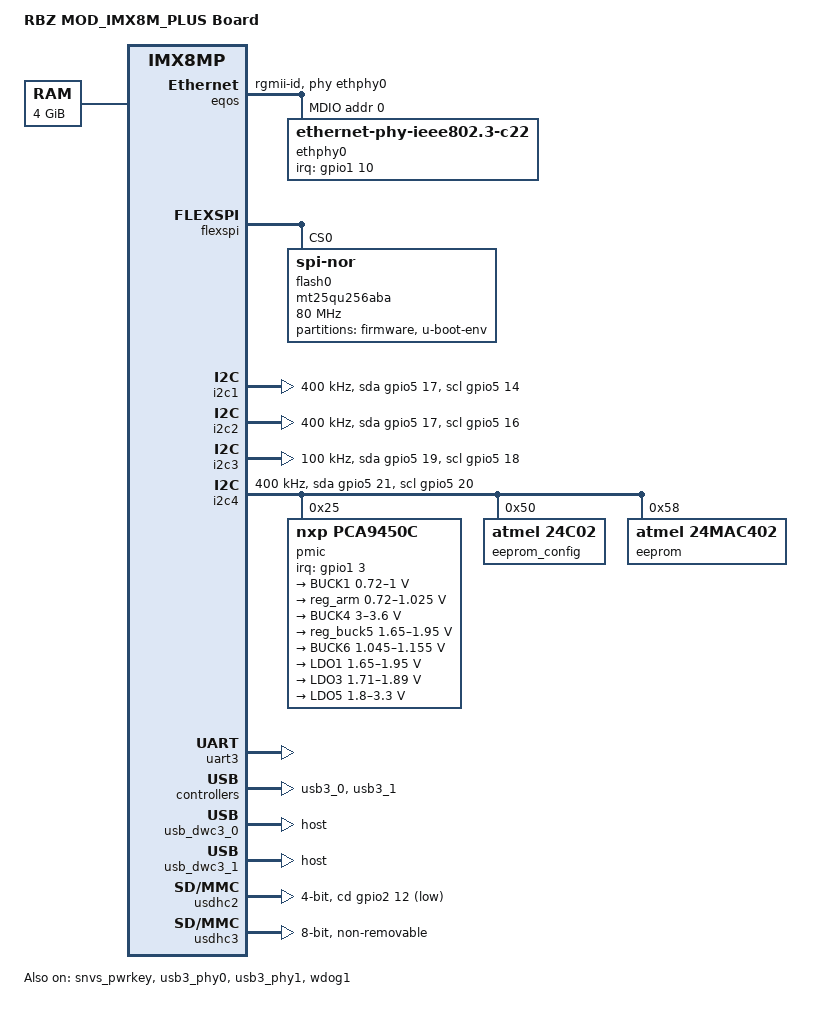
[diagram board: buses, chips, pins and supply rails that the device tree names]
// SPDX-License-Identifier: (GPL-2.0+ OR MIT)
/*
 * Copyright 2019 NXP
 */

/dts-v1/;

#include <dt-bindings/phy/phy-imx8-pcie.h>
#include "imx8mp.dtsi"

/ {
	model = "RBZ MOD_IMX8M_PLUS Board";
	compatible = "fsl,imx8mp-evk", "fsl,imx8mp";

	chosen {
		bootargs = "console=ttymxc2,115200";
		stdout-path = &uart3;
        rbz,eeprom = &eeprom;
        rbz,eeprom_config = &eeprom_config;
        rbz,hw-coding-gpios = <&gpio5 5 0>, <&gpio3 14 0>;
	};

    aliases {
      /delete-property/ ethernet0;
      /delete-property/ ethernet1;
      ethernet0 = &eqos;
    };


	memory@40000000 {
		device_type = "memory";
		reg = <0x0 0x40000000 0 0x80000000>,
		      <0x1 0x00000000 0 0x80000000>;
	};
};

&eqos {
	pinctrl-names = "default";
	pinctrl-0 = <&pinctrl_eqos>;
	phy-mode = "rgmii-id";
	phy-handle = <&ethphy0>;
    snps,force_thresh_dma_mode;
    snps,mtl-tx-config = <&mtl_tx_setup>;
    snps,mtl-rx-config = <&mtl_rx_setup>;
	status = "okay";

	mdio {
		compatible = "snps,dwmac-mdio";
		#address-cells = <1>;
		#size-cells = <0>;

		ethphy0: ethernet-phy@0 {
			compatible = "ethernet-phy-ieee802.3-c22";
			reg = <0>;
			eee-broken-1000t;
			eee-broken-100tx;
			interrupt-parent = <&gpio1>;
			interrupts = <10 IRQ_TYPE_LEVEL_LOW>;
		};
	};

	mtl_tx_setup: tx-queues-config {
		snps,tx-queues-to-use = <5>;

		queue0 {
			snps,dcb-algorithm;
			snps,priority = <0x1>;
		};

		queue1 {
			snps,dcb-algorithm;
			snps,priority = <0x2>;
		};

		queue2 {
			snps,dcb-algorithm;
			snps,priority = <0x4>;
		};

		queue3 {
			snps,dcb-algorithm;
			snps,priority = <0x8>;
		};

		queue4 {
			snps,dcb-algorithm;
			snps,priority = <0xf0>;
		};
	};

	mtl_rx_setup: rx-queues-config {
		snps,rx-queues-to-use = <5>;
		snps,rx-sched-sp;

		queue0 {
			snps,dcb-algorithm;
			snps,priority = <0x1>;
			snps,map-to-dma-channel = <0>;
		};

		queue1 {
			snps,dcb-algorithm;
			snps,priority = <0x2>;
			snps,map-to-dma-channel = <1>;
		};

		queue2 {
			snps,dcb-algorithm;
			snps,priority = <0x4>;
			snps,map-to-dma-channel = <2>;
		};

		queue3 {
			snps,dcb-algorithm;
			snps,priority = <0x8>;
			snps,map-to-dma-channel = <3>;
		};

		queue4 {
			snps,dcb-algorithm;
			snps,priority = <0xf0>;
			snps,map-to-dma-channel = <4>;
		};
	};
};

&A53_0 {
	cpu-supply = <&reg_arm>;
};

&A53_1 {
	cpu-supply = <&reg_arm>;
};

&A53_2 {
	cpu-supply = <&reg_arm>;
};

&A53_3 {
	cpu-supply = <&reg_arm>;
};

&flexspi {
	pinctrl-names = "default";
	pinctrl-0 = <&pinctrl_flexspi0>;
	status = "okay";

	flash0: mt25qu256aba@0 {
		reg = <0>;
		#address-cells = <1>;
		#size-cells = <1>;
		compatible = "jedec,spi-nor", "spi-flash";
		spi-max-frequency = <80000000>;
		spi-tx-bus-width = <4>;
		spi-rx-bus-width = <4>;

        partitions {
          compatible = "fixed-partitions";
          #address-cells = <1>;
          #size-cells = <1>;
          
          partition@firmware {
            reg = <0 CONFIG_ENV_OFFSET>;
            label = "firmware";
          };

          partition@u-boot-env {
            reg = <CONFIG_ENV_OFFSET CONFIG_ENV_SIZE>;
            label = "u-boot-env";
          };
        };
	};
};

&i2c1 {
    clock-frequency = <400000>;
    pinctrl-names = "default", "gpio";
    pinctrl-0 = <&pinctrl_i2c1>;
    pinctrl-1 = <&pinctrl_i2c1_gpio>;
    scl-gpios = <&gpio5 14 GPIO_ACTIVE_HIGH>;
    sda-gpios = <&gpio5 17 GPIO_ACTIVE_HIGH>;
    status = "okay";
};

&i2c2 {
	clock-frequency = <400000>;
	pinctrl-names = "default", "gpio";
	pinctrl-0 = <&pinctrl_i2c2>;
	pinctrl-1 = <&pinctrl_i2c2_gpio>;
	scl-gpios = <&gpio5 16 GPIO_ACTIVE_HIGH>;
	sda-gpios = <&gpio5 17 GPIO_ACTIVE_HIGH>;
	status = "okay";
};

&i2c3 {
	clock-frequency = <100000>;
	pinctrl-names = "default", "gpio";
	pinctrl-0 = <&pinctrl_i2c3>;
	pinctrl-1 = <&pinctrl_i2c3_gpio>;
	scl-gpios = <&gpio5 18 GPIO_ACTIVE_HIGH>;
	sda-gpios = <&gpio5 19 GPIO_ACTIVE_HIGH>;
	status = "okay";
};

&i2c4 {
	clock-frequency = <400000>;
	pinctrl-names = "default", "gpio";
	pinctrl-0 = <&pinctrl_i2c4>;
	pinctrl-1 = <&pinctrl_i2c4_gpio>;
	scl-gpios = <&gpio5 20 GPIO_ACTIVE_HIGH>;
	sda-gpios = <&gpio5 21 GPIO_ACTIVE_HIGH>;
	status = "okay";

	pmic: pca9450@25 {
		reg = <0x25>;
		compatible = "nxp,pca9450c";
		pinctrl-names = "default";
		pinctrl-0 = <&pinctrl_pmic>;
		interrupt-parent = <&gpio1>;
		interrupts = <3 IRQ_TYPE_LEVEL_LOW>;

		regulators {
			BUCK1 {
				regulator-name = "BUCK1";
				regulator-min-microvolt = <720000>;
				regulator-max-microvolt = <1000000>;
				regulator-boot-on;
				regulator-always-on;
				regulator-ramp-delay = <3125>;
			};

			reg_arm: BUCK2 {
				regulator-name = "BUCK2";
				regulator-min-microvolt = <720000>;
				regulator-max-microvolt = <1025000>;
				regulator-boot-on;
				regulator-always-on;
				regulator-ramp-delay = <3125>;
				nxp,dvs-run-voltage = <950000>;
				nxp,dvs-standby-voltage = <850000>;
			};

			BUCK4 {
				regulator-name = "BUCK4";
				regulator-min-microvolt = <3000000>;
				regulator-max-microvolt = <3600000>;
				regulator-boot-on;
				regulator-always-on;
			};

			reg_buck5: BUCK5 {
				regulator-name = "BUCK5";
				regulator-min-microvolt = <1650000>;
				regulator-max-microvolt = <1950000>;
				regulator-boot-on;
				regulator-always-on;
			};

			BUCK6 {
				regulator-name = "BUCK6";
				regulator-min-microvolt = <1045000>;
				regulator-max-microvolt = <1155000>;
				regulator-boot-on;
				regulator-always-on;
			};

			LDO1 {
				regulator-name = "LDO1";
				regulator-min-microvolt = <1650000>;
				regulator-max-microvolt = <1950000>;
				regulator-boot-on;
				regulator-always-on;
			};

			LDO3 {
				regulator-name = "LDO3";
				regulator-min-microvolt = <1710000>;
				regulator-max-microvolt = <1890000>;
				regulator-boot-on;
				regulator-always-on;
			};

			LDO5 {
				regulator-name = "LDO5";
				regulator-min-microvolt = <1800000>;
				regulator-max-microvolt = <3300000>;
				regulator-boot-on;
				regulator-always-on;
			};
		};
	};
  
    eeprom_config: eeprom_config@50 {
        compatible = "atmel,24c02";
        reg = <0x50>;
    };
    
    eeprom: eeprom@58 {
        compatible = "atmel,24mac402";
        reg = <0x58>;
    };
};

&snvs_pwrkey {
	status = "okay";
};

&uart3 {
	/* console */
	pinctrl-names = "default";
	pinctrl-0 = <&pinctrl_uart3>;
	status = "okay";
};

&usb3_phy0 {
	fsl,phy-tx-vref-tune = <0xb>;
	fsl,phy-tx-preemp-amp-tune = <3>;
	status = "okay";
};

&usb3_0 {
	status = "okay";
};

&usb_dwc3_0 {
	pinctrl-names = "default";
	pinctrl-0 = <&pinctrl_usb0_vbus>;
	dr_mode = "host";
	status = "okay";
};

&usb3_phy1 {
	fsl,phy-tx-preemp-amp-tune = <3>;
	fsl,phy-tx-vref-tune = <0xb>;
	status = "okay";
};

&usb3_1 {
	status = "okay";
};

&usb_dwc3_1 {
	pinctrl-names = "default";
	pinctrl-0 = <&pinctrl_usb1_vbus>;
	dr_mode = "host";
	status = "okay";
};

&usdhc2 {
	pinctrl-names = "default", "state_100mhz", "state_200mhz";
	pinctrl-0 = <&pinctrl_usdhc2>, <&pinctrl_usdhc2_gpio>;
	pinctrl-1 = <&pinctrl_usdhc2_100mhz>, <&pinctrl_usdhc2_gpio>;
	pinctrl-2 = <&pinctrl_usdhc2_200mhz>, <&pinctrl_usdhc2_gpio>;
	cd-gpios = <&gpio2 12 GPIO_ACTIVE_LOW>;
	bus-width = <4>;
    no-1-8-v;
	status = "okay";
};

&usdhc3 {
	pinctrl-names = "default", "state_100mhz", "state_200mhz";
	pinctrl-0 = <&pinctrl_usdhc3>;
	pinctrl-1 = <&pinctrl_usdhc3_100mhz>;
	pinctrl-2 = <&pinctrl_usdhc3_200mhz>;
	bus-width = <8>;
	non-removable;
	status = "okay";
};

&wdog1 {
	pinctrl-names = "default";
	pinctrl-0 = <&pinctrl_wdog>;
	fsl,ext-reset-output;
	status = "okay";
};

&iomuxc {
    pinctrl-0 = <&pinctrl_hog>;
	pinctrl-names = "default";

    pinctrl_hog: hoggrp {
      fsl,pins = <
        MX8MP_IOMUXC_SPDIF_EXT_CLK__GPIO5_IO05 0x140
        MX8MP_IOMUXC_NAND_DQS__GPIO3_IO14 0x140
      >;
    };
        
	pinctrl_eqos: eqosgrp {
		fsl,pins = <
			MX8MP_IOMUXC_ENET_MDC__ENET_QOS_MDC	0x2
			MX8MP_IOMUXC_ENET_MDIO__ENET_QOS_MDIO	0x2
			MX8MP_IOMUXC_ENET_RD0__ENET_QOS_RGMII_RD0	0x90
			MX8MP_IOMUXC_ENET_RD1__ENET_QOS_RGMII_RD1	0x90
			MX8MP_IOMUXC_ENET_RD2__ENET_QOS_RGMII_RD2	0x90
			MX8MP_IOMUXC_ENET_RD3__ENET_QOS_RGMII_RD3	0x90
			MX8MP_IOMUXC_ENET_RXC__CCM_ENET_QOS_CLOCK_GENERATE_RX_CLK	0x90
			MX8MP_IOMUXC_ENET_RX_CTL__ENET_QOS_RGMII_RX_CTL	0x90
			MX8MP_IOMUXC_ENET_TD0__ENET_QOS_RGMII_TD0		0x16
			MX8MP_IOMUXC_ENET_TD1__ENET_QOS_RGMII_TD1		0x16
			MX8MP_IOMUXC_ENET_TD2__ENET_QOS_RGMII_TD2		0x16
			MX8MP_IOMUXC_ENET_TD3__ENET_QOS_RGMII_TD3		0x16
			MX8MP_IOMUXC_ENET_TX_CTL__ENET_QOS_RGMII_TX_CTL	0x16
			MX8MP_IOMUXC_ENET_TXC__CCM_ENET_QOS_CLOCK_GENERATE_TX_CLK	0x16
            MX8MP_IOMUXC_GPIO1_IO01__GPIO1_IO01      0x10
            MX8MP_IOMUXC_GPIO1_IO09__GPIO1_IO09      0x10
		>;
	};

	pinctrl_flexspi0: flexspi0grp {
		fsl,pins = <
			MX8MP_IOMUXC_NAND_ALE__FLEXSPI_A_SCLK		0x1c2
			MX8MP_IOMUXC_NAND_CE0_B__FLEXSPI_A_SS0_B	0x82
			MX8MP_IOMUXC_NAND_DATA00__FLEXSPI_A_DATA00	0x82
			MX8MP_IOMUXC_NAND_DATA01__FLEXSPI_A_DATA01	0x82
			MX8MP_IOMUXC_NAND_DATA02__FLEXSPI_A_DATA02	0x82
			MX8MP_IOMUXC_NAND_DATA03__FLEXSPI_A_DATA03	0x82
		>;
	};

	pinctrl_i2c1: i2c1grp {
		fsl,pins = <
			MX8MP_IOMUXC_I2C1_SCL__I2C1_SCL		0x400001c3
			MX8MP_IOMUXC_I2C1_SDA__I2C1_SDA		0x400001c3
		>;
	};

	pinctrl_i2c2: i2c2grp {
		fsl,pins = <
			MX8MP_IOMUXC_I2C2_SCL__I2C2_SCL			0x400001c3
			MX8MP_IOMUXC_I2C2_SDA__I2C2_SDA			0x400001c3
		>;
	};

	pinctrl_i2c3: i2c3grp {
		fsl,pins = <
			MX8MP_IOMUXC_I2C3_SCL__I2C3_SCL			0x400001c3
			MX8MP_IOMUXC_I2C3_SDA__I2C3_SDA			0x400001c3
		>;
	};

	pinctrl_i2c4: i2c4grp {
		fsl,pins = <
			MX8MP_IOMUXC_I2C4_SCL__I2C4_SCL			0x400001c3
			MX8MP_IOMUXC_I2C4_SDA__I2C4_SDA			0x400001c3
		>;
	};

	pinctrl_i2c1_gpio: i2c1grp-gpio {
		fsl,pins = <
			MX8MP_IOMUXC_I2C1_SCL__GPIO5_IO14        	0x1c3
			MX8MP_IOMUXC_I2C1_SDA__GPIO5_IO15        	0x1c3
		>;
	};

	pinctrl_i2c2_gpio: i2c2grp-gpio {
		fsl,pins = <
			MX8MP_IOMUXC_I2C2_SCL__GPIO5_IO16        	0x1c3
			MX8MP_IOMUXC_I2C2_SDA__GPIO5_IO17        	0x1c3
		>;
	};

	pinctrl_i2c3_gpio: i2c3grp-gpio {
		fsl,pins = <
			MX8MP_IOMUXC_I2C3_SCL__GPIO5_IO18        	0x1c3
			MX8MP_IOMUXC_I2C3_SDA__GPIO5_IO19        	0x1c3
		>;
	};

	pinctrl_i2c4_gpio: i2c4grp-gpio {
		fsl,pins = <
			MX8MP_IOMUXC_I2C4_SCL__GPIO5_IO20        	0x1c3
			MX8MP_IOMUXC_I2C4_SDA__GPIO5_IO21        	0x1c3
		>;
	};

	pinctrl_pmic: pmicirq {
		fsl,pins = <
			MX8MP_IOMUXC_GPIO1_IO03__GPIO1_IO03	0x41
		>;
	};

	pinctrl_uart3: uart3grp {
		fsl,pins = <
			MX8MP_IOMUXC_UART3_RXD__UART3_DCE_RX	0x49
			MX8MP_IOMUXC_UART3_TXD__UART3_DCE_TX	0x49
		>;
	};

	pinctrl_usb0_vbus: usb0grp {
		fsl,pins = <
			MX8MP_IOMUXC_GPIO1_IO12__GPIO1_IO12	0x19
		>;
	};

	pinctrl_usb1_vbus: usb1grp {
		fsl,pins = <
			MX8MP_IOMUXC_GPIO1_IO14__GPIO1_IO14	0x19
		>;
	};

	pinctrl_usdhc2: usdhc2grp {
		fsl,pins = <
			MX8MP_IOMUXC_SD2_CLK__USDHC2_CLK	0x190
			MX8MP_IOMUXC_SD2_CMD__USDHC2_CMD	0x1d0
			MX8MP_IOMUXC_SD2_DATA0__USDHC2_DATA0	0x1d0
			MX8MP_IOMUXC_SD2_DATA1__USDHC2_DATA1	0x1d0
			MX8MP_IOMUXC_SD2_DATA2__USDHC2_DATA2	0x1d0
			MX8MP_IOMUXC_SD2_DATA3__USDHC2_DATA3	0x1d0
			MX8MP_IOMUXC_GPIO1_IO04__USDHC2_VSELECT	0xc1
		>;
	};

	pinctrl_usdhc2_100mhz: usdhc2-100mhzgrp {
		fsl,pins = <
			MX8MP_IOMUXC_SD2_CLK__USDHC2_CLK	0x194
			MX8MP_IOMUXC_SD2_CMD__USDHC2_CMD	0x1d4
			MX8MP_IOMUXC_SD2_DATA0__USDHC2_DATA0	0x1d4
			MX8MP_IOMUXC_SD2_DATA1__USDHC2_DATA1	0x1d4
			MX8MP_IOMUXC_SD2_DATA2__USDHC2_DATA2	0x1d4
			MX8MP_IOMUXC_SD2_DATA3__USDHC2_DATA3	0x1d4
			MX8MP_IOMUXC_GPIO1_IO04__USDHC2_VSELECT 0xc1
		>;
	};

	pinctrl_usdhc2_200mhz: usdhc2-200mhzgrp {
		fsl,pins = <
			MX8MP_IOMUXC_SD2_CLK__USDHC2_CLK	0x196
			MX8MP_IOMUXC_SD2_CMD__USDHC2_CMD	0x1d6
			MX8MP_IOMUXC_SD2_DATA0__USDHC2_DATA0	0x1d6
			MX8MP_IOMUXC_SD2_DATA1__USDHC2_DATA1	0x1d6
			MX8MP_IOMUXC_SD2_DATA2__USDHC2_DATA2	0x1d6
			MX8MP_IOMUXC_SD2_DATA3__USDHC2_DATA3	0x1d6
			MX8MP_IOMUXC_GPIO1_IO04__USDHC2_VSELECT 0xc1
		>;
	};

	pinctrl_usdhc2_gpio: usdhc2gpiogrp {
		fsl,pins = <
			MX8MP_IOMUXC_SD2_CD_B__GPIO2_IO12	0x1c4
		>;
	};

	pinctrl_usdhc3: usdhc3grp {
		fsl,pins = <
			MX8MP_IOMUXC_NAND_WE_B__USDHC3_CLK	0x190
			MX8MP_IOMUXC_NAND_WP_B__USDHC3_CMD	0x1d0
			MX8MP_IOMUXC_NAND_DATA04__USDHC3_DATA0	0x1d0
			MX8MP_IOMUXC_NAND_DATA05__USDHC3_DATA1	0x1d0
			MX8MP_IOMUXC_NAND_DATA06__USDHC3_DATA2	0x1d0
			MX8MP_IOMUXC_NAND_DATA07__USDHC3_DATA3	0x1d0
			MX8MP_IOMUXC_NAND_RE_B__USDHC3_DATA4	0x1d0
			MX8MP_IOMUXC_NAND_CE2_B__USDHC3_DATA5	0x1d0
			MX8MP_IOMUXC_NAND_CE3_B__USDHC3_DATA6	0x1d0
			MX8MP_IOMUXC_NAND_CLE__USDHC3_DATA7	0x1d0
			MX8MP_IOMUXC_NAND_CE1_B__USDHC3_STROBE	0x190
            MX8MP_IOMUXC_NAND_READY_B__USDHC3_RESET_B 0x1d1
		>;
	};

	pinctrl_usdhc3_100mhz: usdhc3-100mhzgrp {
		fsl,pins = <
			MX8MP_IOMUXC_NAND_WE_B__USDHC3_CLK	0x194
			MX8MP_IOMUXC_NAND_WP_B__USDHC3_CMD	0x1d4
			MX8MP_IOMUXC_NAND_DATA04__USDHC3_DATA0	0x1d4
			MX8MP_IOMUXC_NAND_DATA05__USDHC3_DATA1	0x1d4
			MX8MP_IOMUXC_NAND_DATA06__USDHC3_DATA2	0x1d4
			MX8MP_IOMUXC_NAND_DATA07__USDHC3_DATA3	0x1d4
			MX8MP_IOMUXC_NAND_RE_B__USDHC3_DATA4	0x1d4
			MX8MP_IOMUXC_NAND_CE2_B__USDHC3_DATA5	0x1d4
			MX8MP_IOMUXC_NAND_CE3_B__USDHC3_DATA6	0x1d4
			MX8MP_IOMUXC_NAND_CLE__USDHC3_DATA7	0x1d4
			MX8MP_IOMUXC_NAND_CE1_B__USDHC3_STROBE	0x194
            MX8MP_IOMUXC_NAND_READY_B__USDHC3_RESET_B 0x1d1
		>;
	};

	pinctrl_usdhc3_200mhz: usdhc3-200mhzgrp {
		fsl,pins = <
			MX8MP_IOMUXC_NAND_WE_B__USDHC3_CLK	0x196
			MX8MP_IOMUXC_NAND_WP_B__USDHC3_CMD	0x1d6
			MX8MP_IOMUXC_NAND_DATA04__USDHC3_DATA0	0x1d6
			MX8MP_IOMUXC_NAND_DATA05__USDHC3_DATA1	0x1d6
			MX8MP_IOMUXC_NAND_DATA06__USDHC3_DATA2	0x1d6
			MX8MP_IOMUXC_NAND_DATA07__USDHC3_DATA3	0x1d6
			MX8MP_IOMUXC_NAND_RE_B__USDHC3_DATA4	0x1d6
			MX8MP_IOMUXC_NAND_CE2_B__USDHC3_DATA5	0x1d6
			MX8MP_IOMUXC_NAND_CE3_B__USDHC3_DATA6	0x1d6
			MX8MP_IOMUXC_NAND_CLE__USDHC3_DATA7	0x1d6
			MX8MP_IOMUXC_NAND_CE1_B__USDHC3_STROBE	0x196
            MX8MP_IOMUXC_NAND_READY_B__USDHC3_RESET_B 0x1d1
		>;
	};

	pinctrl_wdog: wdoggrp {
		fsl,pins = <
			MX8MP_IOMUXC_GPIO1_IO02__WDOG1_WDOG_B	0xc6
		>;
	};
};
